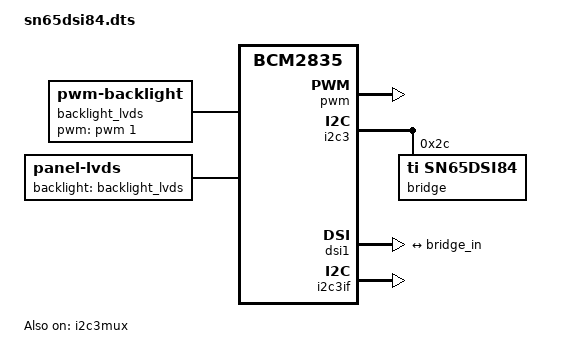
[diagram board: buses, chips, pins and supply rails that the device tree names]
/*
 * Derived from:
 * vc4-kms-dsi-ti-sn65dsi84-CSD123IA-01D-overlay.dts
 * aBUGSworsnightmare 20250731
 *
 * Edited for RPI_CMx_Carrier by Jean-Francois Bilodeau, P.Eng on 2026-03-07
 *
 * RPI_CMx_Carrier uses SN65DSI84 on DSI1 with up to 4x DSI lanes and 1x 4-lane LVDS output on LVDS_A. 
 * The DSI bridge is controlled through I2C3 and doesn't have a dedicated enable input.
 * The display panel is from Riverdi and the part number is RVT70HSLFWCA0.
 * The backlight driver is from Texas Instruments TPS61169 and is driven by PWM0_0 on RPI_CMx GPIO12, and doesn't have a dedicated enable input.
 * The schematic can be found on Github --> https://github.com/lecejeff/RPI_CMx_Carrier
 */

/dts-v1/;
/plugin/;
#include <dt-bindings/gpio/gpio.h>
#include <dt-bindings/pinctrl/bcm2835.h>

/ {
	compatible = "brcm,bcm2835";

	/* PWM0 function */
	/* RPI_CMx_Carrier uses PWM0_0 on GPIO12 */
	fragment@0 {
		target = <&gpio>;
		__overlay__ {
			pwm_pins: pwm_pins {
				//brcm,pins = <19>;						
				brcm,pins = <12>;						// Assign PWM0_0 to GPIO12
				//brcm,function = <BCM2835_FSEL_ALT5>;	
				brcm,function = <BCM2835_FSEL_ALT0>;	// RPI CM4 and CM5 GPIO12 PWM0_0 is on ALT0 assignment
				brcm,pull = <0>;
			};
		};
	};

	fragment@1 {
		target = <&pwm>;
		frag1: __overlay__ {
			pinctrl-names = "default";
			pinctrl-0 = <&pwm_pins>;
			assigned-clock-rates = <50000000>;
			status = "okay";
		};
	};

	fragment@2 {
		target-path = "/";
		__overlay__ {
			//#gpio-cells = <2>;
			/* Panel backlight through PWM0_0 on GPIO 12 */
			backlight_lvds: backlight {
				compatible = "pwm-backlight";
				//pwms = <&pwm 1 1000000 0>; 	/* Period of 1000000ns means 1KHz */
				pwms = <&pwm 1 50000000 0>; 	/* Period of 50000000ns means 50KHz --> TPS61169 backlight driver recommends PWM frequency between 5 to 100 kHz */
				brightness-levels = <0 1000>;
				num-interpolated-steps = <1000>;
				default-brightness-level = <800>;
				//enable-gpios = <&gpio 27 GPIO_ACTIVE_HIGH>;     /* Backlight enable --> RPI_CMx_Carrier backlight is always enabled */
			};

			panel: panel {
				compatible = "panel-lvds";
				backlight = <&backlight_lvds>;

				/* Physical dimensions of active area */
				width-mm = <292>;
				height-mm = <110>;

				data-mapping = "vesa-24";

				/* RVT70HSLFWCA0 */
				/* 800 x 480 pixels  */
				panel-timing {
					clock-frequency = <30000000>;
					hactive = <800>;
					vactive = <480>;
					hfront-porch = <210>;
					hback-porch = <16>;
					hsync-len = <30>;
					vfront-porch = <22>;
					vback-porch = <10>;
					vsync-len = <13>;
					hsync-active = <0>;
					vsync-active = <0>;
					de-active = <1>;
					pixelclk-active = <0>;
				};
			};
		};
	};

	fragment@3 {
		target = <&i2c3>;
		__overlay__ {
			#gpio-cells = <2>;
			#address-cells = <1>;
			#size-cells = <0>;
			status = "okay";

			/* Information for RVT70HSLFWCA0 */
			bridge@2c {
				compatible = "ti,sn65dsi84";
				reg = <0x2c>;
				ti,dsi-lanes = <4>;
				ti,lvds-format = <0>;
				ti,lvds-bpp = <24>;
				ti,lvds--channels = <1>;
				ti,width-mm = <154>;
				ti,height-mm = <87>;
				pinctrl-names = "default";
				status = "okay";
			};
		};
	};

	fragment@4 {
		target = <&dsi1>;
		__overlay__ {
			#address-cells = <1>;
			#size-cells = <0>;
			status = "okay";
			port {
				dsi_out_port: endpoint {
					remote-endpoint = <&bridge_in>;
					data-lanes = <1 2 3 4>;
				};
			};
		};
	};

	fragment@5 {
		target = <&i2c3if>;
		__overlay__ {
			status = "okay";
		};
	};
		
	fragment@6 {
		target = <&i2c3mux>;
		__overlay__ {
			status = "okay";
		};
	};
};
